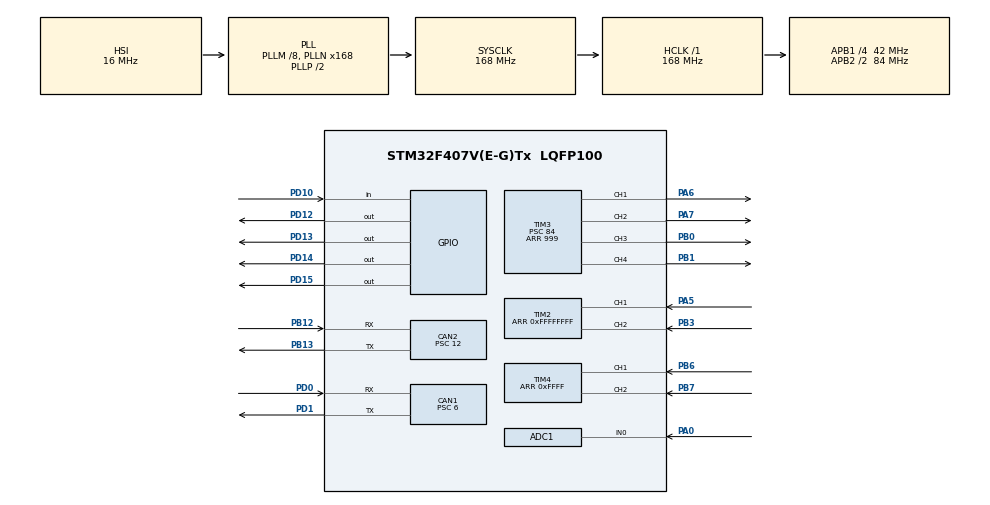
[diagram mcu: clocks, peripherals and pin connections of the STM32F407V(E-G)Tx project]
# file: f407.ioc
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ADC1.Channel-3\#ChannelRegularConversion=ADC_CHANNEL_0
ADC1.ContinuousConvMode=ENABLE
ADC1.NbrOfConversionFlag=1
ADC1.Rank-3\#ChannelRegularConversion=1
ADC1.SamplingTime-3\#ChannelRegularConversion=ADC_SAMPLETIME_84CYCLES
ADC1.master=1
CAN1.BS1=CAN_BS1_3TQ
CAN1.BS2=CAN_BS2_3TQ
CAN1.CalculateTimeQuantum=142.85714285714286
CAN1.Mode=CAN_MODE_NORMAL
CAN1.Prescaler=6
CAN2.BS1=CAN_BS1_3TQ
CAN2.BS2=CAN_BS2_3TQ
CAN2.CalculateTimeQuantum=285.7142857142857
CAN2.Mode=CAN_MODE_NORMAL
CAN2.Prescaler=12
Mcu.Family=STM32F4
Mcu.Name=STM32F407V(E-G)Tx
Mcu.Package=LQFP100
NVIC.ADC_IRQn=true\:0\:0\:false\:false\:true\:true\:true
NVIC.CAN1_RX0_IRQn=true\:0\:0\:false\:false\:true\:true\:true
NVIC.CAN2_RX1_IRQn=true\:0\:0\:false\:false\:true\:true\:true
NVIC.PriorityGroup=NVIC_PRIORITYGROUP_4
NVIC.TIM6_DAC_IRQn=true\:0\:0\:false\:false\:true\:true\:true
NVIC.TIM7_IRQn=true\:0\:0\:false\:false\:true\:true\:true
PA0-WKUP.Signal=ADCx_IN0
PA5.Signal=S_TIM2_CH1_ETR
PA6.Signal=S_TIM3_CH1
PA7.Signal=S_TIM3_CH2
PB0.Signal=S_TIM3_CH3
PB1.Signal=S_TIM3_CH4
PB12.Mode=Slave
PB12.Signal=CAN2_RX
PB13.Mode=Slave
PB13.Signal=CAN2_TX
PB3.Signal=S_TIM2_CH2
PB6.Signal=S_TIM4_CH1
PB7.Signal=S_TIM4_CH2
PD0.Mode=Master
PD0.Signal=CAN1_RX
PD1.Mode=Master
PD1.Signal=CAN1_TX
PD10.GPIO_PuPd=GPIO_PULLUP
PD10.Signal=GPIO_Input
PD12.Signal=GPIO_Output
PD13.Signal=GPIO_Output
PD14.Signal=GPIO_Output
PD15.Signal=GPIO_Output
PH0-OSC_IN.Mode=HSE-External-Oscillator
PH0-OSC_IN.Signal=RCC_OSC_IN
PH1-OSC_OUT.Mode=HSE-External-Oscillator
PH1-OSC_OUT.Signal=RCC_OSC_OUT
ProjectManager.HeapSize=0x200
ProjectManager.StackSize=0x400
ProjectManager.TargetToolchain=MDK-ARM V5.27
RCC.48MHZClocksFreq_Value=84000000
RCC.AHBFreq_Value=168000000
RCC.APB1CLKDivider=RCC_HCLK_DIV4
RCC.APB1Freq_Value=42000000
RCC.APB1TimFreq_Value=84000000
RCC.APB2CLKDivider=RCC_HCLK_DIV2
RCC.APB2Freq_Value=84000000
RCC.APB2TimFreq_Value=168000000
RCC.CortexFreq_Value=168000000
RCC.HCLKFreq_Value=168000000
RCC.HSE_VALUE=8000000
RCC.HSI_VALUE=16000000
RCC.LSE_VALUE=32768
RCC.PLLM=8
RCC.PLLN=168
RCC.SYSCLKFreq_VALUE=168000000
RCC.SYSCLKSource=RCC_SYSCLKSOURCE_PLLCLK
RCC.VCOOutputFreq_Value=336000000
SH.ADCx_IN0.0=ADC1_IN0,IN0
SH.S_TIM2_CH1_ETR.0=TIM2_CH1,Encoder_Interface
SH.S_TIM2_CH2.0=TIM2_CH2,Encoder_Interface
SH.S_TIM3_CH1.0=TIM3_CH1,PWM Generation1 CH1
SH.S_TIM3_CH2.0=TIM3_CH2,PWM Generation2 CH2
SH.S_TIM3_CH3.0=TIM3_CH3,PWM Generation3 CH3
SH.S_TIM3_CH4.0=TIM3_CH4,PWM Generation4 CH4
SH.S_TIM4_CH1.0=TIM4_CH1,Encoder_Interface
SH.S_TIM4_CH2.0=TIM4_CH2,Encoder_Interface
TIM2.AutoReloadPreload=TIM_AUTORELOAD_PRELOAD_DISABLE
TIM2.CounterMode=TIM_COUNTERMODE_UP
TIM2.EncoderMode=TIM_ENCODERMODE_TI12
TIM2.Period=0xFFFFFFFF
TIM3.Channel-PWM\ Generation1\ CH1=TIM_CHANNEL_1
TIM3.Channel-PWM\ Generation2\ CH2=TIM_CHANNEL_2
TIM3.Channel-PWM\ Generation3\ CH3=TIM_CHANNEL_3
TIM3.Channel-PWM\ Generation4\ CH4=TIM_CHANNEL_4
TIM3.OCMode_PWM-PWM\ Generation3\ CH3=TIM_OCMODE_PWM2
TIM3.OCMode_PWM-PWM\ Generation4\ CH4=TIM_OCMODE_PWM2
TIM3.Period=999
TIM3.Prescaler=84
TIM4.EncoderMode=TIM_ENCODERMODE_TI12
TIM4.Period=0xFFFF
TIM6.AutoReloadPreload=TIM_AUTORELOAD_PRELOAD_ENABLE
TIM6.Period=999
TIM6.Prescaler=84
TIM7.AutoReloadPreload=TIM_AUTORELOAD_PRELOAD_ENABLE
TIM7.Period=999
TIM7.Prescaler=84
VP_TIM3_VS_ClockSourceINT.Mode=Internal
VP_TIM6_VS_ClockSourceINT.Mode=Enable_Timer
VP_TIM7_VS_ClockSourceINT.Mode=Enable_Timer
board=custom

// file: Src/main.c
/* USER CODE BEGIN Header */
/**
  ******************************************************************************
  * @file           : main.c
  * @brief          : Main program body
  ******************************************************************************
  * @attention
  *
  * <h2><center>&copy; Copyright (c) 2020 STMicroelectronics.
  * All rights reserved.</center></h2>
  *
  * This software component is licensed by ST under BSD 3-Clause license,
  * the "License"; You may not use this file except in compliance with the
  * License. You may obtain a copy of the License at:
  *                        opensource.org/licenses/BSD-3-Clause
  *
  ******************************************************************************
  */
/* USER CODE END Header */

#include "main.h"

/* USER CODE BEGIN Includes */
#include "configs.h"
#include "utils.hpp"
#include "stdio.h"
#include "autopilot.hpp"
/* USER CODE END Includes */

ADC_HandleTypeDef hadc1;

CAN_HandleTypeDef hcan1;
CAN_HandleTypeDef hcan2;

TIM_HandleTypeDef htim2;
TIM_HandleTypeDef htim3;
TIM_HandleTypeDef htim4;
TIM_HandleTypeDef htim6;
TIM_HandleTypeDef htim7;

void SystemClock_Config(void);
static void MX_GPIO_Init(void);
static void MX_TIM2_Init(void);
static void MX_TIM3_Init(void);
static void MX_TIM4_Init(void);
static void MX_ADC1_Init(void);
static void MX_CAN1_Init(void);
static void MX_CAN2_Init(void);
static void MX_TIM6_Init(void);
static void MX_TIM7_Init(void);

/* USER CODE BEGIN 0 */

/* Autopilot module */
AutopilotSystem pilot(&hadc1, &hcan1, &hcan2);
/* Warnning indicator */
Buzzer buz(CONF_PIN_BUZZER_PORT, CONF_PIN_BUZZER_MASK);
/* USER CODE END 0 */

int main(void)
{

  /* MCU Configuration--------------------------------------------------------*/

  /* Reset of all peripherals, Initializes the Flash interface and the Systick. */
  HAL_Init();

  /* Configure the system clock */
  SystemClock_Config();

  /* Initialize all configured peripherals */
  MX_GPIO_Init();
  MX_TIM2_Init();
  MX_TIM3_Init();
  MX_TIM4_Init();
  MX_ADC1_Init();
  MX_CAN1_Init();
  MX_CAN2_Init();
  MX_TIM6_Init();
  MX_TIM7_Init();
  /* USER CODE BEGIN 2 */

  // Time2, in encoder mode, speed feedback for turning motor
  HAL_TIM_Encoder_Start(&htim2, TIM_CHANNEL_ALL);
  // Time4, in encoder mode, position feedback for turning shaft
  HAL_TIM_Encoder_Start(&htim4, TIM_CHANNEL_ALL);

  // Main loop for turning control
  HAL_TIM_Base_Start_IT(&htim6);
  // Main loop for Path tracking
  HAL_TIM_Base_Start_IT(&htim7);
  HAL_TIM_PWM_Start(&htim3, TIM_CHANNEL_1);

  pilot = AutopilotSystem(&hadc1, &hcan1, &hcan2);
  buz = Buzzer(CONF_PIN_BUZZER_PORT, CONF_PIN_BUZZER_MASK);

  pilot.steering_sys.prepare(&buz);
  pilot.engine_sys.prepare();
  pilot.prepare();

  /* USER CODE END 2 */

  /* Infinite loop */
  /* USER CODE BEGIN WHILE */
  while (1)
  {
    HAL_Delay(100);
  }
    /* USER CODE END WHILE */

}

void SystemClock_Config(void)
{
  RCC_OscInitTypeDef RCC_OscInitStruct = {0};
  RCC_ClkInitTypeDef RCC_ClkInitStruct = {0};

  /** Configure the main internal regulator output voltage
  */
  __HAL_RCC_PWR_CLK_ENABLE();
  __HAL_PWR_VOLTAGESCALING_CONFIG(PWR_REGULATOR_VOLTAGE_SCALE1);
  /** Initializes the CPU, AHB and APB busses clocks
  */
  RCC_OscInitStruct.OscillatorType = RCC_OSCILLATORTYPE_HSI;
  RCC_OscInitStruct.HSIState = RCC_HSI_ON;
  RCC_OscInitStruct.HSICalibrationValue = RCC_HSICALIBRATION_DEFAULT;
  RCC_OscInitStruct.PLL.PLLState = RCC_PLL_ON;
  RCC_OscInitStruct.PLL.PLLSource = RCC_PLLSOURCE_HSI;
  RCC_OscInitStruct.PLL.PLLM = 8;
  RCC_OscInitStruct.PLL.PLLN = 168;
  RCC_OscInitStruct.PLL.PLLP = RCC_PLLP_DIV2;
  RCC_OscInitStruct.PLL.PLLQ = 4;
  if (HAL_RCC_OscConfig(&RCC_OscInitStruct) != HAL_OK)
  {
    Error_Handler();
  }
  /** Initializes the CPU, AHB and APB busses clocks
  */
  RCC_ClkInitStruct.ClockType = RCC_CLOCKTYPE_HCLK|RCC_CLOCKTYPE_SYSCLK
                              |RCC_CLOCKTYPE_PCLK1|RCC_CLOCKTYPE_PCLK2;
  RCC_ClkInitStruct.SYSCLKSource = RCC_SYSCLKSOURCE_PLLCLK;
  RCC_ClkInitStruct.AHBCLKDivider = RCC_SYSCLK_DIV1;
  RCC_ClkInitStruct.APB1CLKDivider = RCC_HCLK_DIV4;
  RCC_ClkInitStruct.APB2CLKDivider = RCC_HCLK_DIV2;

  if (HAL_RCC_ClockConfig(&RCC_ClkInitStruct, FLASH_LATENCY_5) != HAL_OK)
  {
    Error_Handler();
  }
}

static void MX_ADC1_Init(void)
{

  ADC_ChannelConfTypeDef sConfig = {0};

  /** Configure the global features of the ADC (Clock, Resolution, Data Alignment and number of conversion)
  */
  hadc1.Instance = ADC1;
  hadc1.Init.ClockPrescaler = ADC_CLOCK_SYNC_PCLK_DIV4;
  hadc1.Init.Resolution = ADC_RESOLUTION_12B;
  hadc1.Init.ScanConvMode = DISABLE;
  hadc1.Init.ContinuousConvMode = ENABLE;
  hadc1.Init.DiscontinuousConvMode = DISABLE;
  hadc1.Init.ExternalTrigConvEdge = ADC_EXTERNALTRIGCONVEDGE_NONE;
  hadc1.Init.ExternalTrigConv = ADC_SOFTWARE_START;
  hadc1.Init.DataAlign = ADC_DATAALIGN_RIGHT;
  hadc1.Init.NbrOfConversion = 1;
  hadc1.Init.DMAContinuousRequests = DISABLE;
  hadc1.Init.EOCSelection = ADC_EOC_SINGLE_CONV;
  if (HAL_ADC_Init(&hadc1) != HAL_OK)
  {
    Error_Handler();
  }
  /** Configure for the selected ADC regular channel its corresponding rank in the sequencer and its sample time.
  */
  sConfig.Channel = ADC_CHANNEL_0;
  sConfig.Rank = 1;
  sConfig.SamplingTime = ADC_SAMPLETIME_84CYCLES;
  if (HAL_ADC_ConfigChannel(&hadc1, &sConfig) != HAL_OK)
  {
    Error_Handler();
  }

}

static void MX_CAN1_Init(void)
{

  hcan1.Instance = CAN1;
  hcan1.Init.Prescaler = 6;
  hcan1.Init.Mode = CAN_MODE_NORMAL;
  hcan1.Init.SyncJumpWidth = CAN_SJW_1TQ;
  hcan1.Init.TimeSeg1 = CAN_BS1_3TQ;
  hcan1.Init.TimeSeg2 = CAN_BS2_3TQ;
  hcan1.Init.TimeTriggeredMode = DISABLE;
  hcan1.Init.AutoBusOff = DISABLE;
  hcan1.Init.AutoWakeUp = DISABLE;
  hcan1.Init.AutoRetransmission = DISABLE;
  hcan1.Init.ReceiveFifoLocked = DISABLE;
  hcan1.Init.TransmitFifoPriority = DISABLE;
  if (HAL_CAN_Init(&hcan1) != HAL_OK)
  {
    Error_Handler();
  }

}

static void MX_CAN2_Init(void)
{

  hcan2.Instance = CAN2;
  hcan2.Init.Prescaler = 12;
  hcan2.Init.Mode = CAN_MODE_NORMAL;
  hcan2.Init.SyncJumpWidth = CAN_SJW_1TQ;
  hcan2.Init.TimeSeg1 = CAN_BS1_3TQ;
  hcan2.Init.TimeSeg2 = CAN_BS2_3TQ;
  hcan2.Init.TimeTriggeredMode = DISABLE;
  hcan2.Init.AutoBusOff = DISABLE;
  hcan2.Init.AutoWakeUp = DISABLE;
  hcan2.Init.AutoRetransmission = DISABLE;
  hcan2.Init.ReceiveFifoLocked = DISABLE;
  hcan2.Init.TransmitFifoPriority = DISABLE;
  if (HAL_CAN_Init(&hcan2) != HAL_OK)
  {
    Error_Handler();
  }

}

static void MX_TIM2_Init(void)
{

  TIM_Encoder_InitTypeDef sConfig = {0};
  TIM_MasterConfigTypeDef sMasterConfig = {0};

  htim2.Instance = TIM2;
  htim2.Init.Prescaler = 0;
  htim2.Init.CounterMode = TIM_COUNTERMODE_UP;
  htim2.Init.Period = 0xFFFFFFFF;
  htim2.Init.ClockDivision = TIM_CLOCKDIVISION_DIV1;
  htim2.Init.AutoReloadPreload = TIM_AUTORELOAD_PRELOAD_DISABLE;
  sConfig.EncoderMode = TIM_ENCODERMODE_TI12;
  sConfig.IC1Polarity = TIM_ICPOLARITY_RISING;
  sConfig.IC1Selection = TIM_ICSELECTION_DIRECTTI;
  sConfig.IC1Prescaler = TIM_ICPSC_DIV1;
  sConfig.IC1Filter = 0;
  sConfig.IC2Polarity = TIM_ICPOLARITY_RISING;
  sConfig.IC2Selection = TIM_ICSELECTION_DIRECTTI;
  sConfig.IC2Prescaler = TIM_ICPSC_DIV1;
  sConfig.IC2Filter = 0;
  if (HAL_TIM_Encoder_Init(&htim2, &sConfig) != HAL_OK)
  {
    Error_Handler();
  }
  sMasterConfig.MasterOutputTrigger = TIM_TRGO_RESET;
  sMasterConfig.MasterSlaveMode = TIM_MASTERSLAVEMODE_DISABLE;
  if (HAL_TIMEx_MasterConfigSynchronization(&htim2, &sMasterConfig) != HAL_OK)
  {
    Error_Handler();
  }

}

static void MX_TIM3_Init(void)
{

  TIM_ClockConfigTypeDef sClockSourceConfig = {0};
  TIM_MasterConfigTypeDef sMasterConfig = {0};
  TIM_OC_InitTypeDef sConfigOC = {0};

  htim3.Instance = TIM3;
  htim3.Init.Prescaler = 84;
  htim3.Init.CounterMode = TIM_COUNTERMODE_UP;
  htim3.Init.Period = 999;
  htim3.Init.ClockDivision = TIM_CLOCKDIVISION_DIV1;
  htim3.Init.AutoReloadPreload = TIM_AUTORELOAD_PRELOAD_DISABLE;
  if (HAL_TIM_Base_Init(&htim3) != HAL_OK)
  {
    Error_Handler();
  }
  sClockSourceConfig.ClockSource = TIM_CLOCKSOURCE_INTERNAL;
  if (HAL_TIM_ConfigClockSource(&htim3, &sClockSourceConfig) != HAL_OK)
  {
    Error_Handler();
  }
  if (HAL_TIM_PWM_Init(&htim3) != HAL_OK)
  {
    Error_Handler();
  }
  sMasterConfig.MasterOutputTrigger = TIM_TRGO_RESET;
  sMasterConfig.MasterSlaveMode = TIM_MASTERSLAVEMODE_DISABLE;
  if (HAL_TIMEx_MasterConfigSynchronization(&htim3, &sMasterConfig) != HAL_OK)
  {
    Error_Handler();
  }
  sConfigOC.OCMode = TIM_OCMODE_PWM1;
  sConfigOC.Pulse = 0;
  sConfigOC.OCPolarity = TIM_OCPOLARITY_HIGH;
  sConfigOC.OCFastMode = TIM_OCFAST_DISABLE;
  if (HAL_TIM_PWM_ConfigChannel(&htim3, &sConfigOC, TIM_CHANNEL_1) != HAL_OK)
  {
    Error_Handler();
  }
  if (HAL_TIM_PWM_ConfigChannel(&htim3, &sConfigOC, TIM_CHANNEL_2) != HAL_OK)
  {
    Error_Handler();
  }
  sConfigOC.OCMode = TIM_OCMODE_PWM2;
  if (HAL_TIM_PWM_ConfigChannel(&htim3, &sConfigOC, TIM_CHANNEL_3) != HAL_OK)
  {
    Error_Handler();
  }
  if (HAL_TIM_PWM_ConfigChannel(&htim3, &sConfigOC, TIM_CHANNEL_4) != HAL_OK)
  {
    Error_Handler();
  }
  HAL_TIM_MspPostInit(&htim3);

}

static void MX_TIM4_Init(void)
{

  TIM_Encoder_InitTypeDef sConfig = {0};
  TIM_MasterConfigTypeDef sMasterConfig = {0};

  htim4.Instance = TIM4;
  htim4.Init.Prescaler = 0;
  htim4.Init.CounterMode = TIM_COUNTERMODE_UP;
  htim4.Init.Period = 0xFFFF;
  htim4.Init.ClockDivision = TIM_CLOCKDIVISION_DIV1;
  htim4.Init.AutoReloadPreload = TIM_AUTORELOAD_PRELOAD_DISABLE;
  sConfig.EncoderMode = TIM_ENCODERMODE_TI12;
  sConfig.IC1Polarity = TIM_ICPOLARITY_RISING;
  sConfig.IC1Selection = TIM_ICSELECTION_DIRECTTI;
  sConfig.IC1Prescaler = TIM_ICPSC_DIV1;
  sConfig.IC1Filter = 0;
  sConfig.IC2Polarity = TIM_ICPOLARITY_RISING;
  sConfig.IC2Selection = TIM_ICSELECTION_DIRECTTI;
  sConfig.IC2Prescaler = TIM_ICPSC_DIV1;
  sConfig.IC2Filter = 0;
  if (HAL_TIM_Encoder_Init(&htim4, &sConfig) != HAL_OK)
  {
    Error_Handler();
  }
  sMasterConfig.MasterOutputTrigger = TIM_TRGO_RESET;
  sMasterConfig.MasterSlaveMode = TIM_MASTERSLAVEMODE_DISABLE;
  if (HAL_TIMEx_MasterConfigSynchronization(&htim4, &sMasterConfig) != HAL_OK)
  {
    Error_Handler();
  }

}

static void MX_TIM6_Init(void)
{

  TIM_MasterConfigTypeDef sMasterConfig = {0};

  htim6.Instance = TIM6;
  htim6.Init.Prescaler = 84;
  htim6.Init.CounterMode = TIM_COUNTERMODE_UP;
  htim6.Init.Period = 999;
  htim6.Init.AutoReloadPreload = TIM_AUTORELOAD_PRELOAD_ENABLE;
  if (HAL_TIM_Base_Init(&htim6) != HAL_OK)
  {
    Error_Handler();
  }
  sMasterConfig.MasterOutputTrigger = TIM_TRGO_RESET;
  sMasterConfig.MasterSlaveMode = TIM_MASTERSLAVEMODE_DISABLE;
  if (HAL_TIMEx_MasterConfigSynchronization(&htim6, &sMasterConfig) != HAL_OK)
  {
    Error_Handler();
  }

}

static void MX_TIM7_Init(void)
{

  TIM_MasterConfigTypeDef sMasterConfig = {0};

  htim7.Instance = TIM7;
  htim7.Init.Prescaler = 84;
  htim7.Init.CounterMode = TIM_COUNTERMODE_UP;
  htim7.Init.Period = 999;
  htim7.Init.AutoReloadPreload = TIM_AUTORELOAD_PRELOAD_ENABLE;
  if (HAL_TIM_Base_Init(&htim7) != HAL_OK)
  {
    Error_Handler();
  }
  sMasterConfig.MasterOutputTrigger = TIM_TRGO_RESET;
  sMasterConfig.MasterSlaveMode = TIM_MASTERSLAVEMODE_DISABLE;
  if (HAL_TIMEx_MasterConfigSynchronization(&htim7, &sMasterConfig) != HAL_OK)
  {
    Error_Handler();
  }

}

static void MX_GPIO_Init(void)
{
  GPIO_InitTypeDef GPIO_InitStruct = {0};

  /* GPIO Ports Clock Enable */
  __HAL_RCC_GPIOH_CLK_ENABLE();
  __HAL_RCC_GPIOA_CLK_ENABLE();
  __HAL_RCC_GPIOB_CLK_ENABLE();
  __HAL_RCC_GPIOD_CLK_ENABLE();

  /*Configure GPIO pin Output Level */
  HAL_GPIO_WritePin(GPIOD, GPIO_PIN_12|GPIO_PIN_13|GPIO_PIN_14|GPIO_PIN_15, GPIO_PIN_RESET);

  /*Configure GPIO pin : PD10 */
  GPIO_InitStruct.Pin = GPIO_PIN_10;
  GPIO_InitStruct.Mode = GPIO_MODE_INPUT;
  GPIO_InitStruct.Pull = GPIO_PULLUP;
  HAL_GPIO_Init(GPIOD, &GPIO_InitStruct);

  /*Configure GPIO pins : PD12 PD13 PD14 PD15 */
  GPIO_InitStruct.Pin = GPIO_PIN_12|GPIO_PIN_13|GPIO_PIN_14|GPIO_PIN_15;
  GPIO_InitStruct.Mode = GPIO_MODE_OUTPUT_PP;
  GPIO_InitStruct.Pull = GPIO_NOPULL;
  GPIO_InitStruct.Speed = GPIO_SPEED_FREQ_LOW;
  HAL_GPIO_Init(GPIOD, &GPIO_InitStruct);

}

void Error_Handler(void)
{
}

/************************ (C) COPYRIGHT STMicroelectronics *****END OF FILE****/
